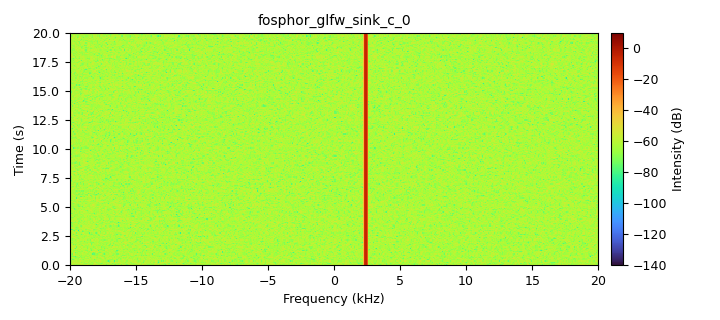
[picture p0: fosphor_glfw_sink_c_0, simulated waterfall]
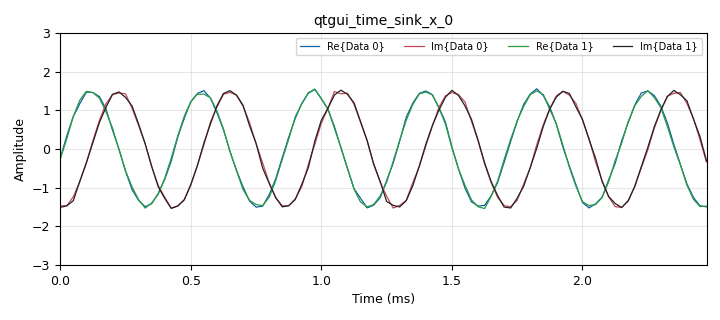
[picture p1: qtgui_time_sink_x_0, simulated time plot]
options:
  parameters:
    author: Magnus Lundmark
    copyright: '2022'
    generate_options: qt_gui
    id: test_fosphor
    output_language: python
    title: Test dump block
  states: {}

blocks:
- name: amp
  id: variable
  parameters:
    value: np.sqrt(2)
  states: {state: disabled}
- name: amp
  id: variable_qtgui_range
  parameters:
    label: Amplitude
    outputmsgname: value
    showports: 'False'
    start: '.1'
    step: '.1'
    stop: '3'
    value: '1.5'
  states: {}
- name: dc_offset
  id: variable_qtgui_range
  parameters:
    label: DC Offset
    outputmsgname: value
    showports: 'False'
    start: '-1'
    step: '.05'
    stop: '1'
    value: '0'
  states: {}
- name: fn
  id: variable
  parameters:
    value: '""'
  states: {}
- name: freq
  id: variable_qtgui_range
  parameters:
    label: frequency
    outputmsgname: value
    showports: 'False'
    start: '-samp_rate*.5'
    step: '100'
    stop: samp_rate*.5
    value: '2345'
  states: {}
- name: pha_dif
  id: variable_qtgui_range
  parameters:
    label: Phase difference
    outputmsgname: value
    showports: 'False'
    start: '-180'
    step: '1'
    stop: '180'
    value: '0'
  states: {}
- name: remove_mean
  id: variable_qtgui_check_box
  parameters:
    'false': 'False'
    label: Remove DC
    'true': 'True'
    type: bool
    value: 'False'
  states: {}
- name: samp_rate
  id: variable
  parameters:
    value: '40000'
  states: {}
- name: snr
  id: variable_qtgui_range
  parameters:
    label: SNR
    outputmsgname: value
    showports: 'False'
    start: '-10'
    step: '1'
    stop: '30'
    value: '30'
  states: {}
- name: t
  id: variable_qtgui_push_button
  parameters:
    pressed: '1'
    released: '0'
    type: int
    value: '0'
  states: {}
- name: vlen
  id: variable
  parameters:
    value: '1024'
  states: {}
- name: analog_fastnoise_source_x_0
  id: analog_fastnoise_source_x
  parameters:
    amp: 10**(-snr*.05)*amp
    noise_type: analog.GR_GAUSSIAN
    samples: '8192'
    seed: '0'
    type: complex
  states: {}
- name: analog_fastnoise_source_x_0_0
  id: analog_fastnoise_source_x
  parameters:
    amp: 10**(-snr*.05)*amp
    noise_type: analog.GR_GAUSSIAN
    samples: '8192'
    seed: '123456'
    type: complex
  states: {}
- name: analog_sig_source_x_0
  id: analog_sig_source_x
  parameters:
    amp: amp
    freq: freq
    offset: '0'
    phase: '0'
    samp_rate: samp_rate
    type: complex
    waveform: analog.GR_COS_WAVE
  states: {}
- name: blocks_add_const_vxx_0
  id: blocks_add_const_vxx
  parameters:
    const: dc_offset
    type: complex
  states: {}
- name: blocks_add_xx_0
  id: blocks_add_xx
  parameters:
    type: complex
  states: {}
- name: blocks_add_xx_0_0
  id: blocks_add_xx
  parameters:
    type: complex
  states: {}
- name: blocks_complex_to_mag_0
  id: blocks_complex_to_mag
  parameters: {}
  states: {}
- name: blocks_complex_to_mag_0_0
  id: blocks_complex_to_mag
  parameters: {}
  states: {state: disabled}
- name: blocks_multiply_const_vxx_0
  id: blocks_multiply_const_vxx
  parameters:
    const: '1'
    type: complex
  states: {}
- name: blocks_multiply_const_xx_0
  id: blocks_multiply_const_xx
  parameters:
    const: np.exp(1j*pha_dif*0.017453292519943295)
    type: complex
  states: {}
- name: blocks_null_sink_0
  id: blocks_null_sink
  parameters:
    num_inputs: '3'
    type: float
  states: {state: disabled}
- name: blocks_stream_to_vector_0
  id: blocks_stream_to_vector
  parameters:
    num_items: vlen
    type: complex
  states: {}
- name: blocks_stream_to_vector_0_0
  id: blocks_stream_to_vector
  parameters:
    num_items: vlen
    type: complex
  states: {}
- name: blocks_throttle_0
  id: blocks_throttle
  parameters:
    samples_per_second: samp_rate
    type: complex
  states: {}
- name: calibrate_cexp_est_0
  id: calibrate_cexp_est
  parameters:
    algo: '1'
    calc_len: vlen
    freq_scale: '1e-3'
    fs: samp_rate
    iter: '3'
    remove_mean: remove_mean
  states: {}
- name: calibrate_cexp_est_0_0
  id: calibrate_cexp_est
  parameters:
    algo: '1'
    calc_len: vlen
    freq_scale: '1e-3'
    fs: samp_rate
    iter: '2'
    remove_mean: 'False'
  states: {state: disabled}
- name: calibrate_dump_0
  id: calibrate_dump
  parameters:
    filename: fn
    trig: t
    vlen: vlen
  states: {}
- name: calibrate_float_to_msg_0
  id: calibrate_float_to_msg
  parameters:
    calc_len: '256'
    desc: ''
  states: {state: disabled}
- name: calibrate_phase_diff_0
  id: calibrate_phase_diff
  parameters:
    calc_len: vlen
  states: {}
- name: calibrate_sigpwr_0
  id: calibrate_sigpwr
  parameters:
    calc_len: vlen
  states: {}
- name: fosphor_glfw_sink_c_0
  id: fosphor_glfw_sink_c
  parameters:
    freq_center: '0'
    freq_span: samp_rate
  states: {}
- name: import_0
  id: import
  parameters:
    imports: import numpy as np
  states: {}
- name: note_0
  id: note
  parameters:
    comment: |-
      Signal model

      s = x + w

      w: complex AWGN with amplitude a
      s: complex exponential with amplitude A


      SNR_dB = 10 * log10( A**2 / a**2 ) = 20 * log10(A / a)

      a = A * 10**(SNR_dB/20)
    note: SNR
  states: {}
- name: note_0_0
  id: note
  parameters:
    comment: |-
      Signal model

      x =A_x *  exp(1j * w * t + phi_x)
      y =A_y *  exp(1j * w * t + phi_y)

      pha_dif = phi_x - phi_y
    note: PHA
  states: {}
- name: qtgui_freq_sink_x_0
  id: qtgui_freq_sink_x
  parameters:
    bw: samp_rate
    fc: '0'
    fftsize: '512'
    grid: 'True'
    gui_hint: '[0,0,2,2]'
    type: complex
    update_time: '0.05'
    ymax: '0'
    ymin: '-80'
  states: {state: disabled}
- name: qtgui_number_sink_0
  id: qtgui_number_sink
  parameters:
    graph_type: qtgui.NUM_GRAPH_HORIZ
    max: samp_rate*.5e-3
    min: '-samp_rate*.5e-3'
    name: '"Freq"'
    type: float
  states: {}
- name: qtgui_number_sink_0_0
  id: qtgui_number_sink
  parameters:
    avg: '.5'
    graph_type: qtgui.NUM_GRAPH_HORIZ
    max: '30'
    min: '-10'
    name: SNR
    type: float
  states: {}
- name: qtgui_number_sink_0_0_0
  id: qtgui_number_sink
  parameters:
    graph_type: qtgui.NUM_GRAPH_HORIZ
    max: '5'
    min: '0'
    name: PWR
    type: float
  states: {}
- name: qtgui_number_sink_0_0_0_0
  id: qtgui_number_sink
  parameters:
    avg: '.1'
    graph_type: qtgui.NUM_GRAPH_HORIZ
    max: '180'
    min: '-180'
    name: PHA_DIF
    type: float
  states: {}
- name: qtgui_number_sink_0_1
  id: qtgui_number_sink
  parameters:
    graph_type: qtgui.NUM_GRAPH_HORIZ
    max: '2'
    min: '0'
    name: Magnitude
    type: float
  states: {}
- name: qtgui_time_sink_x_0
  id: qtgui_time_sink_x
  parameters:
    alpha2: '0'
    alpha4: '0'
    gui_hint: '[0,2,2,2]'
    nconnections: '2'
    size: '100'
    srate: samp_rate
    tr_mode: qtgui.TRIG_MODE_AUTO
    type: complex
    ymax: amp*2
    ymin: '-amp*2'
  states: {}
- name: qtgui_waterfall_sink_x_0
  id: qtgui_waterfall_sink_x
  parameters:
    bw: samp_rate
    color1: '3'
    fc: '0'
    fftsize: '1024'
    gui_hint: '[0,0,2,2]'
    type: complex
  states: {state: disabled}

connections:
- [analog_fastnoise_source_x_0, '0', blocks_throttle_0, '0']
- [analog_fastnoise_source_x_0_0, '0', blocks_add_xx_0_0, '1']
- [analog_sig_source_x_0, '0', blocks_add_const_vxx_0, '0']
- [blocks_add_const_vxx_0, '0', blocks_add_xx_0, '1']
- [blocks_add_const_vxx_0, '0', blocks_multiply_const_xx_0, '0']
- [blocks_add_xx_0, '0', blocks_stream_to_vector_0, '0']
- [blocks_add_xx_0, '0', calibrate_cexp_est_0, '0']
- [blocks_add_xx_0, '0', calibrate_phase_diff_0, '0']
- [blocks_add_xx_0, '0', calibrate_sigpwr_0, '0']
- [blocks_add_xx_0, '0', qtgui_freq_sink_x_0, '0']
- [blocks_add_xx_0, '0', qtgui_time_sink_x_0, '0']
- [blocks_add_xx_0, '0', qtgui_waterfall_sink_x_0, '0']
- [blocks_add_xx_0_0, '0', blocks_multiply_const_vxx_0, '0']
- [blocks_complex_to_mag_0, '0', qtgui_number_sink_0_1, '0']
- [blocks_complex_to_mag_0_0, '0', blocks_null_sink_0, '1']
- [blocks_multiply_const_vxx_0, '0', blocks_stream_to_vector_0_0, '0']
- [blocks_multiply_const_vxx_0, '0', calibrate_cexp_est_0_0, '0']
- [blocks_multiply_const_vxx_0, '0', calibrate_phase_diff_0, '1']
- [blocks_multiply_const_vxx_0, '0', fosphor_glfw_sink_c_0, '0']
- [blocks_multiply_const_vxx_0, '0', qtgui_time_sink_x_0, '1']
- [blocks_multiply_const_xx_0, '0', blocks_add_xx_0_0, '0']
- [blocks_stream_to_vector_0, '0', calibrate_dump_0, '0']
- [blocks_stream_to_vector_0_0, '0', calibrate_dump_0, '1']
- [blocks_throttle_0, '0', blocks_add_xx_0, '0']
- [calibrate_cexp_est_0, '0', qtgui_number_sink_0, '0']
- [calibrate_cexp_est_0, '1', blocks_complex_to_mag_0, '0']
- [calibrate_cexp_est_0, '2', qtgui_number_sink_0_0, '0']
- [calibrate_cexp_est_0_0, '0', blocks_null_sink_0, '0']
- [calibrate_cexp_est_0_0, '1', blocks_complex_to_mag_0_0, '0']
- [calibrate_cexp_est_0_0, '2', blocks_null_sink_0, '2']
- [calibrate_phase_diff_0, '0', qtgui_number_sink_0_0_0_0, '0']
- [calibrate_sigpwr_0, '0', qtgui_number_sink_0_0_0, '0']

metadata:
  file_format: 1
  grc_version: 3.10.4.0
